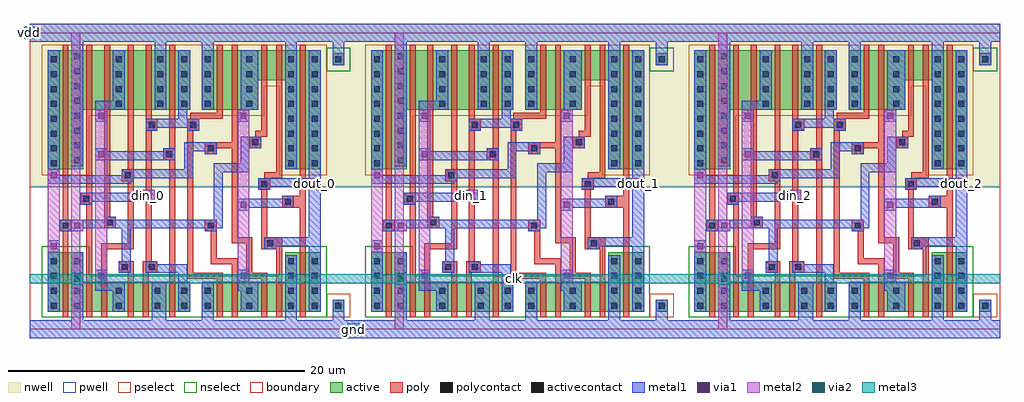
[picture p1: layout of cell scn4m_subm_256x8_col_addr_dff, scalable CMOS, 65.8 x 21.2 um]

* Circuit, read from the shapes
.subckt scn4m_subm_256x8_col_addr_dff clk din_0 din_1 din_2 dout_0 dout_1 dout_2 gnd vdd
M1 gnd clk n1 gnd nfet w=4u l=0.4u
M2 n2 din_0 gnd gnd nfet w=2u l=0.4u
M3 n3 n1 n2 gnd nfet w=2u l=0.4u
M4 n4 clk n3 gnd nfet w=2u l=0.4u
M5 gnd n5 n4 gnd nfet w=2u l=0.4u
M6 n5 n3 gnd gnd nfet w=2u l=0.4u
M7 n6 n5 gnd gnd nfet w=2u l=0.4u
M8 n7 clk n6 gnd nfet w=2u l=0.4u
M9 n8 n1 n7 gnd nfet w=2u l=0.4u
M10 gnd dout_0 n8 gnd nfet w=2u l=0.4u
M11 dout_0 n7 gnd gnd nfet w=4u l=0.4u
M12 gnd clk n9 gnd nfet w=4u l=0.4u
M13 n10 din_1 gnd gnd nfet w=2u l=0.4u
M14 n11 n9 n10 gnd nfet w=2u l=0.4u
M15 n12 clk n11 gnd nfet w=2u l=0.4u
M16 gnd n13 n12 gnd nfet w=2u l=0.4u
M17 n13 n11 gnd gnd nfet w=2u l=0.4u
M18 n14 n13 gnd gnd nfet w=2u l=0.4u
M19 n15 clk n14 gnd nfet w=2u l=0.4u
M20 n16 n9 n15 gnd nfet w=2u l=0.4u
M21 gnd dout_1 n16 gnd nfet w=2u l=0.4u
M22 dout_1 n15 gnd gnd nfet w=4u l=0.4u
M23 gnd clk n17 gnd nfet w=4u l=0.4u
M24 n18 din_2 gnd gnd nfet w=2u l=0.4u
M25 n19 n17 n18 gnd nfet w=2u l=0.4u
M26 n20 clk n19 gnd nfet w=2u l=0.4u
M27 gnd n21 n20 gnd nfet w=2u l=0.4u
M28 n21 n19 gnd gnd nfet w=2u l=0.4u
M29 n22 n21 gnd gnd nfet w=2u l=0.4u
M30 n23 clk n22 gnd nfet w=2u l=0.4u
M31 n24 n17 n23 gnd nfet w=2u l=0.4u
M32 gnd dout_2 n24 gnd nfet w=2u l=0.4u
M33 dout_2 n23 gnd gnd nfet w=4u l=0.4u
M34 vdd clk n1 vdd pfet w=8u l=0.4u
M35 n25 din_0 vdd vdd pfet w=4u l=0.4u
M36 n3 clk n25 vdd pfet w=4u l=0.4u
M37 n26 n1 n3 vdd pfet w=4u l=0.4u
M38 vdd n5 n26 vdd pfet w=4u l=0.4u
M39 n5 n3 vdd vdd pfet w=4u l=0.4u
M40 n27 n5 vdd vdd pfet w=4u l=0.4u
M41 n7 n1 n27 vdd pfet w=4u l=0.4u
M42 n28 clk n7 vdd pfet w=2u l=0.4u
M43 vdd dout_0 n28 vdd pfet w=2u l=0.4u
M44 dout_0 n7 vdd vdd pfet w=8u l=0.4u
M45 vdd clk n9 vdd pfet w=8u l=0.4u
M46 n29 din_1 vdd vdd pfet w=4u l=0.4u
M47 n11 clk n29 vdd pfet w=4u l=0.4u
M48 n30 n9 n11 vdd pfet w=4u l=0.4u
M49 vdd n13 n30 vdd pfet w=4u l=0.4u
M50 n13 n11 vdd vdd pfet w=4u l=0.4u
M51 n31 n13 vdd vdd pfet w=4u l=0.4u
M52 n15 n9 n31 vdd pfet w=4u l=0.4u
M53 n32 clk n15 vdd pfet w=2u l=0.4u
M54 vdd dout_1 n32 vdd pfet w=2u l=0.4u
M55 dout_1 n15 vdd vdd pfet w=8u l=0.4u
M56 vdd clk n17 vdd pfet w=8u l=0.4u
M57 n33 din_2 vdd vdd pfet w=4u l=0.4u
M58 n19 clk n33 vdd pfet w=4u l=0.4u
M59 n34 n17 n19 vdd pfet w=4u l=0.4u
M60 vdd n21 n34 vdd pfet w=4u l=0.4u
M61 n21 n19 vdd vdd pfet w=4u l=0.4u
M62 n35 n21 vdd vdd pfet w=4u l=0.4u
M63 n23 n17 n35 vdd pfet w=4u l=0.4u
M64 n36 clk n23 vdd pfet w=2u l=0.4u
M65 vdd dout_2 n36 vdd pfet w=2u l=0.4u
M66 dout_2 n23 vdd vdd pfet w=8u l=0.4u
.ends

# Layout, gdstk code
import gdstk
lib = gdstk.Library(unit=1e-6, precision=1e-09)
def R(c, l, rs):  # rectangles x0, y0, x1, y1
    for r in rs: c.add(gdstk.rectangle(r[:2], r[2:], *l))
def A(c, l, x, y, w, h, nx, ny, dx, dy):  # array of equal rectangles
    R(c, l, [(x+i*dx, y+j*dy, x+i*dx+w, y+j*dy+h) for i in range(nx) for j in range(ny)])
pwell = (41, 0)
nwell = (42, 0)
active = (43, 0)
pselect = (44, 0)
nselect = (45, 0)
poly = (46, 0)
polycontact = (47, 0)
activecontact = (48, 0)
metal1 = (49, 0)
via1 = (50, 0)
metal2 = (51, 0)
via2 = (61, 0)
metal3 = (62, 0)
boundary = (63, 0)

dff = lib.new_cell('dff')
R(dff, pwell, [(0,-0.6,21.8,9.6)])
R(dff, nwell, [(0,9.6,21.8,20.6)])
R(dff, active, [(1.2,1.2,10.8,3.2), (11.6,1.2,19.6,3.2), (20.4,1.2,21.2,2), (1.2,3.2,3.6,5.2), (17.2,3.2,19.6,5.2), (1.2,10.8,3.6,14.8), (17.2,10.8,19.6,16.8), (1.2,14.8,10.8,18.8), (11.6,14.8,15.4,16.8), (11.6,16.8,19.6,18.8), (20.4,17.8,21.2,18.6)])
R(dff, pselect, [(20,0.8,21.6,2.4), (0.8,10.4,4,14.4), (16.8,10.4,20,16.4), (0.8,14.4,15.8,16.4), (0.8,16.4,20,19.2)])
R(dff, nselect, [(0.8,0.8,20,3.6), (0.8,3.6,4,5.6), (16.8,3.6,20,5.6), (20,17.4,21.6,19)])
R(dff, poly, [(2.2,0.8,2.6,6.6), (3.8,0.8,4.2,8.4), (4.8,0.8,5.2,5.4), (6.6,0.8,7,3.8), (7.6,0.8,8,3.8), (9.4,0.8,9.8,11.4), (12.6,0.8,13,3.4), (13.6,0.8,14,4.4), (15.6,0.8,16,3.4), (16.6,0.8,17,5.4), (18.2,0.8,18.6,8.2), (10.6,3.4,13,3.8), (14.6,3.4,16,3.8), (6,3.8,7,4.6), (7.6,3.8,8.6,4.6), (10.6,3.8,11,13.4), (14.6,3.8,15,5.8), (12.2,4.4,14,4.8), (7.8,4.6,8.2,13.4), (12.2,4.8,12.6,6.6), (4.8,5.4,7,5.8), (15.6,5.4,17,6.2), (6.6,5.8,7,10), (13.6,5.8,15,6.2), (13.6,6.2,14,12.2), (15.6,6.2,16,9.4), (2,6.6,2.8,7.4), (11.8,6.6,12.6,7.4), (5,6.8,5.8,7.6), (2.2,7.4,2.6,19.2), (5,7.6,5.4,19.2), (17,8.2,18.6,9), (3.4,8.4,4.2,9.2), (18.2,9,18.6,19.2), (3.8,9.2,4.2,19.2), (15.4,9.4,16.2,10.2), (6.2,10,7,10.8), (15.8,10.2,17,10.6), (16.6,10.6,17,19.2), (6.6,10.8,7,19.2), (9,11.4,9.8,12.2), (11.8,11.8,12.6,12.2), (9.4,12.2,9.8,19.2), (11.8,12.2,14,12.6), (14.8,12.2,15.6,13), (13.6,12.6,14,19.2), (15.2,13,16,13.4), (7.8,13.4,8.6,14.2), (10.6,13.4,11.4,14.2), (15.6,13.4,16,19.2), (7.8,14.2,8.2,19.2), (10.8,14.2,13,14.6), (12.6,14.6,13,19.2)])
R(dff, polycontact, [(6.2,4,6.6,4.4), (8,4,8.4,4.4), (16,5.6,16.4,6), (2.2,6.8,2.6,7.2), (12,6.8,12.4,7.2), (5.2,7,5.6,7.4), (17.2,8.4,17.6,8.8), (3.6,8.6,4,9), (15.6,9.6,16,10), (6.4,10.2,6.8,10.6), (9.2,11.6,9.6,12), (12,12,12.4,12.4), (15,12.4,15.4,12.8), (8,13.6,8.4,14), (10.8,13.6,11.2,14)])
A(dff, activecontact, 1.4, 1.4, 0.4, 0.4, 1, 4, 0, 1)
A(dff, activecontact, 3, 1.4, 0.4, 0.4, 1, 4, 0, 1)
A(dff, activecontact, 11.8, 1.4, 0.4, 0.4, 3, 2, 2.8, 1)
A(dff, activecontact, 19, 1.4, 0.4, 0.4, 1, 4, 0, 1)
A(dff, activecontact, 1.4, 11, 0.4, 0.4, 1, 8, 0, 1)
A(dff, activecontact, 17.4, 11, 0.4, 0.4, 1, 7, 0, 1)
A(dff, activecontact, 19, 11, 0.4, 0.4, 1, 7, 0, 1)
A(dff, activecontact, 3, 11.2, 0.4, 0.4, 1, 8, 0, 1)
A(dff, activecontact, 5.8, 15, 0.4, 0.4, 1, 4, 0, 1)
A(dff, activecontact, 8.6, 15, 0.4, 0.4, 3, 4, 1.6, 1)
A(dff, activecontact, 14.6, 15, 0.4, 0.4, 1, 4, 0, 1)
A(dff, activecontact, 17.4, 18, 0.4, 0.4, 3, 1, 1.6, 0)
R(dff, activecontact, [(5.8,1.4,6.2,1.8), (8.4,1.4,8.8,1.8), (10.2,1.4,10.6,1.8), (20.6,1.4,21,1.8), (5.8,2.4,6.2,2.8), (8.4,2.4,8.8,2.8), (10.2,2.4,10.6,2.8), (17.4,3.4,17.8,3.8), (17.4,4.4,17.8,4.8)])
R(dff, metal1, [(0,-0.6,21.8,0.6), (0,-0.6,21.8,0.6), (2.8,0.6,3.6,5.2), (8.2,0.6,9.2,3.2), (11.6,0.6,12.4,3.2), (17.2,0.6,18,5), (20.4,0.6,21.2,2), (1.2,1.2,2,6), (5.6,1.2,6.4,2.6), (10,1.2,10.8,3.2), (14.2,1.2,15.4,2.6), (18.8,1.2,19.6,5.6), (4.4,2.6,6.4,3.2), (14,2.6,15.4,3.2), (4.4,3.2,5.2,4), (10,3.2,10.6,3.8), (14,3.2,14.8,4), (6,3.8,6.8,4.6), (7.8,3.8,10.6,4.4), (7.8,4.4,8.6,4.6), (6.2,4.6,6.8,6.8), (15.8,5.4,16.6,5.6), (15.8,5.6,19.6,6.2), (18.8,6.2,19.6,9.6), (2,6.6,3.6,6.8), (11.8,6.6,12.6,6.8), (2,6.8,13,7.4), (5,7.4,5.8,7.6), (12.4,7.4,13,10.6), (14,8,14.8,8.2), (14,8.2,17.8,8.8), (3.4,8.4,4.2,8.6), (3.4,8.6,8.4,9.2), (17,8.8,17.8,9), (7.6,9.2,8.4,9.4), (15.4,9.4,16.2,9.6), (15.4,9.6,19.6,10.2), (1.2,9.8,6.8,10), (1.2,10,7,10.2), (1.2,10.2,11,10.4), (18.8,10.2,19.6,18.8), (1.2,10.4,2,18.8), (6.2,10.4,11,10.8), (12.4,10.6,14.8,11.2), (10.4,10.8,11,12), (17.2,10.8,18,19.4), (2.8,11,3.6,19.4), (14.2,11.2,14.8,12.2), (4.4,11.4,9.8,12), (11.8,11.8,12.6,12), (4.4,12,5.2,12.2), (9,12,9.8,12.2), (10.4,12,12.6,12.6), (14.2,12.2,15.6,13), (7.8,13.4,8.6,13.6), (10.6,13.4,11.4,13.6), (7.8,13.6,11.4,14.2), (4.4,14,5.2,14.8), (14,14,14.8,14.8), (10,14.2,10.6,14.8), (4.4,14.8,6.4,15.4), (8.4,14.8,9.2,19.4), (10,14.8,10.8,18.8), (11.6,14.8,12.4,19.4), (14.2,14.8,15.4,18.8), (5.6,15.4,6.4,18.8), (20.4,17.8,21.2,19.4), (0,19.4,21.8,20.6), (0,19.4,21.8,20.6)])
R(dff, via1, [(4.6,3.4,5,3.8), (14.2,3.4,14.6,3.8), (1.4,5.4,1.8,5.8), (3,6.8,3.4,7.2), (14.2,8.2,14.6,8.6), (7.8,8.8,8.2,9.2), (19,9.6,19.4,10), (1.4,10.2,1.8,10.6), (4.6,11.6,5,12), (4.6,14.2,5,14.6), (14.2,14.2,14.6,14.6)])
R(dff, metal2, [(4.4,3.2,5.2,14.8), (14,3.2,14.8,14.8), (1.2,5.2,2,10.8), (2.8,6.6,3.6,7.4), (2.8,6.6,3.6,7.4), (7.6,8.6,8.4,9.4), (7.6,8.6,8.4,9.4), (18.8,9.4,19.6,10.2), (18.8,9.4,19.6,10.2)])
R(dff, boundary, [(0,0,21.8,20)])
dff.add(gdstk.Label('clk', (3,6.8), layer=51, texttype=0))
dff.add(gdstk.Label('D', (8,9), layer=51, texttype=0))
dff.add(gdstk.Label('Q', (19.2,9.8), layer=51, texttype=0))
dff.add(gdstk.Label('vdd', (6.4,19.6), layer=49, texttype=0))
dff.add(gdstk.Label('gnd', (8.8,0.2), layer=49, texttype=0))
dff.add(gdstk.Label('D', (8,9), layer=51, texttype=0))
dff.add(gdstk.Label('Q', (19.2,9.8), layer=51, texttype=0))
dff.add(gdstk.Label('clk', (3.2,7), layer=51, texttype=0))
dff.add(gdstk.Label('vdd', (10.9,20), layer=49, texttype=0))
dff.add(gdstk.Label('gnd', (10.9,0), layer=49, texttype=0))

scn4m_subm_256x8_contact = lib.new_cell('scn4m_subm_256x8_contact_18')
R(scn4m_subm_256x8_contact, metal1, [(0,0,0.8,0.8)])
R(scn4m_subm_256x8_contact, via1, [(0.2,0.2,0.6,0.6)])
R(scn4m_subm_256x8_contact, metal2, [(0,0,0.8,0.8)])
R(scn4m_subm_256x8_contact, boundary, [(0,0,0.8,0.8)])

c_scn4m_subm_256x8_contact = lib.new_cell('scn4m_subm_256x8_contact_19')
R(c_scn4m_subm_256x8_contact, metal2, [(0,0,0.8,0.8)])
R(c_scn4m_subm_256x8_contact, via2, [(0.2,0.2,0.6,0.6)])
R(c_scn4m_subm_256x8_contact, metal3, [(0,0,0.8,0.8)])
R(c_scn4m_subm_256x8_contact, boundary, [(0,0,0.8,0.8)])

scn4m_subm_256x8_col_add = lib.new_cell('scn4m_subm_256x8_col_addr_dff')
A(scn4m_subm_256x8_col_add, metal2, 2.8, 0, 0.6, 20, 3, 1, 21.8, 0)
A(scn4m_subm_256x8_col_add, metal2, 7.6, 8.6, 0.8, 0.8, 3, 1, 21.8, 0)
A(scn4m_subm_256x8_col_add, metal2, 18.8, 9.4, 0.8, 0.8, 3, 1, 21.8, 0)
R(scn4m_subm_256x8_col_add, metal3, [(21.4,-0.4,22.2,0.4), (0,3.1,65.4,3.7), (-0.4,19.6,0.4,20.4)])
R(scn4m_subm_256x8_col_add, boundary, [(0,0,65.4,20)])
scn4m_subm_256x8_col_add.add(gdstk.Reference(dff, (0,0)))
scn4m_subm_256x8_col_add.add(gdstk.Reference(dff, (21.8,0)))
scn4m_subm_256x8_col_add.add(gdstk.Reference(dff, (43.6,0)))
scn4m_subm_256x8_col_add.add(gdstk.Reference(scn4m_subm_256x8_contact, (-0.4,19.6)))
scn4m_subm_256x8_col_add.add(gdstk.Reference(c_scn4m_subm_256x8_contact, (-0.4,19.6)))
scn4m_subm_256x8_col_add.add(gdstk.Reference(scn4m_subm_256x8_contact, (21.4,-0.4)))
scn4m_subm_256x8_col_add.add(gdstk.Reference(c_scn4m_subm_256x8_contact, (21.4,-0.4)))
scn4m_subm_256x8_col_add.add(gdstk.Reference(c_scn4m_subm_256x8_contact, (2.8,3)))
scn4m_subm_256x8_col_add.add(gdstk.Reference(c_scn4m_subm_256x8_contact, (24.6,3)))
scn4m_subm_256x8_col_add.add(gdstk.Reference(c_scn4m_subm_256x8_contact, (46.4,3)))
scn4m_subm_256x8_col_add.add(gdstk.Label('vdd', (0,20), layer=62, texttype=0))
scn4m_subm_256x8_col_add.add(gdstk.Label('gnd', (21.8,0), layer=62, texttype=0))
scn4m_subm_256x8_col_add.add(gdstk.Label('din_0', (8,9), layer=51, texttype=0))
scn4m_subm_256x8_col_add.add(gdstk.Label('dout_0', (19.2,9.8), layer=51, texttype=0))
scn4m_subm_256x8_col_add.add(gdstk.Label('din_1', (29.8,9), layer=51, texttype=0))
scn4m_subm_256x8_col_add.add(gdstk.Label('dout_1', (41,9.8), layer=51, texttype=0))
scn4m_subm_256x8_col_add.add(gdstk.Label('din_2', (51.6,9), layer=51, texttype=0))
scn4m_subm_256x8_col_add.add(gdstk.Label('dout_2', (62.8,9.8), layer=51, texttype=0))
scn4m_subm_256x8_col_add.add(gdstk.Label('clk', (32.7,3.4), layer=62, texttype=0))

lib.write_gds('scn4m_subm_256x8_col_addr_dff.gds')
